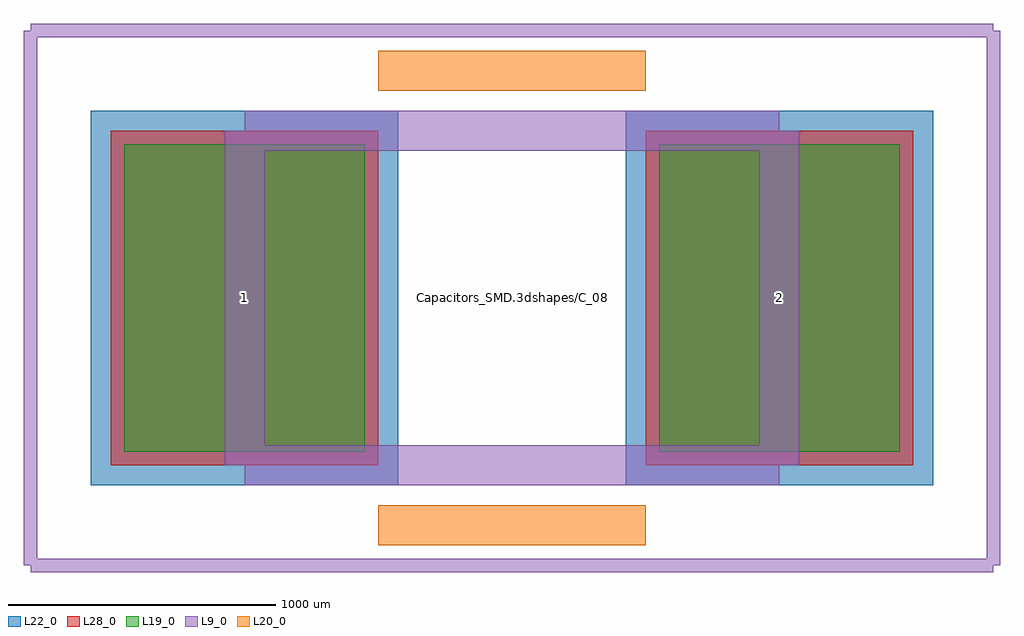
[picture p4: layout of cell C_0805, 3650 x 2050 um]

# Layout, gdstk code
import gdstk
lib = gdstk.Library(unit=1e-6, precision=1e-09)
def R(c, l, rs):  # rectangles x0, y0, x1, y1
    for r in rs: c.add(gdstk.rectangle(r[:2], r[2:], *l))
L9_0 = (9, 0)
L19_0 = (19, 0)
L20_0 = (20, 0)
L22_0 = (22, 0)
L28_0 = (28, 0)

c_0805 = lib.new_cell('C_0805')
R(c_0805, L19_0, [(-1450,-575,-550,575), (550,-575,1450,575)])
R(c_0805, L22_0, [(-1575,-700,-425,700), (425,-700,1575,700)])
R(c_0805, L28_0, [(-1500,-625,-500,625), (500,-625,1500,625)])
c_0805.add(gdstk.FlexPath([(-500,-850),(500,-850)], 149.998, ends="flush", simple_path=True, layer=20, datatype=0))  # L20_0
c_0805.add(gdstk.FlexPath([(500,850),(-500,850)], 149.998, ends="flush", simple_path=True, layer=20, datatype=0))  # L20_0
c_0805.add(gdstk.FlexPath([(1800,1000),(1800,-1000)], 50, ends="flush", simple_path=True, layer=9, datatype=0))  # L9_0
c_0805.add(gdstk.FlexPath([(-1800,1000),(-1800,-1000)], 50, ends="flush", simple_path=True, layer=9, datatype=0))  # L9_0
c_0805.add(gdstk.FlexPath([(-1800,-1000),(1800,-1000)], 50, ends="flush", simple_path=True, layer=9, datatype=0))  # L9_0
c_0805.add(gdstk.FlexPath([(-1800,1000),(1800,1000)], 50, ends="flush", simple_path=True, layer=9, datatype=0))  # L9_0
c_0805.add(gdstk.FlexPath([(-1000,625),(1000,625)], 149.998, ends="flush", simple_path=True, layer=9, datatype=0))  # L9_0
c_0805.add(gdstk.FlexPath([(1000,625),(1000,-625)], 149.998, ends="flush", simple_path=True, layer=9, datatype=0))  # L9_0
c_0805.add(gdstk.FlexPath([(1000,-625),(-1000,-625)], 149.998, ends="flush", simple_path=True, layer=9, datatype=0))  # L9_0
c_0805.add(gdstk.FlexPath([(-1000,-625),(-1000,625)], 149.998, ends="flush", simple_path=True, layer=9, datatype=0))  # L9_0
c_0805.add(gdstk.Label('Capacitors_SMD.3dshapes/C_0805.wrl', (0,0), layer=12, texttype=0))
c_0805.add(gdstk.Label('2', (1000,0), layer=28, texttype=0))
c_0805.add(gdstk.Label('1', (-1000,0), layer=28, texttype=0))
c_0805.add(gdstk.Label('type', (0,-2100), layer=9, texttype=0))
c_0805.add(gdstk.Label('devicename', (0,2100), layer=9, texttype=0))

lib.write_gds('C_0805.gds')
